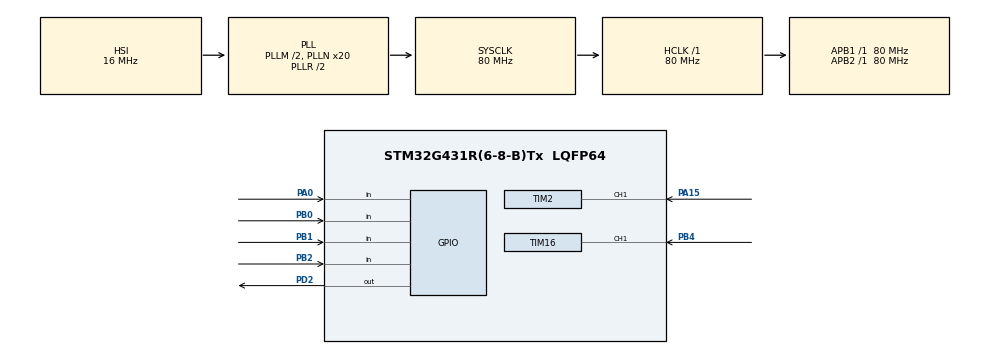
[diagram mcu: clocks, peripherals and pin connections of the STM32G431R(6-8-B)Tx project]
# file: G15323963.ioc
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Mcu.Family=STM32G4
Mcu.Name=STM32G431R(6-8-B)Tx
Mcu.Package=LQFP64
NVIC.PriorityGroup=NVIC_PRIORITYGROUP_2
NVIC.TIM1_BRK_TIM15_IRQn=true\:1\:1\:true\:false\:true\:true\:true\:true
NVIC.TIM1_UP_TIM16_IRQn=true\:0\:0\:false\:false\:true\:true\:true\:true
NVIC.TIM2_IRQn=true\:0\:0\:false\:false\:true\:true\:true\:true
PA0.Signal=GPIO_Input
PA15.Signal=S_TIM2_CH1
PB0.Signal=GPIO_Input
PB1.Signal=GPIO_Input
PB2.Signal=GPIO_Input
PB4.Signal=S_TIM16_CH1
PD2.Signal=GPIO_Output
PF0-OSC_IN.Mode=HSE-External-Oscillator
PF0-OSC_IN.Signal=RCC_OSC_IN
PF1-OSC_OUT.Mode=HSE-External-Oscillator
PF1-OSC_OUT.Signal=RCC_OSC_OUT
ProjectManager.HeapSize=0x200
ProjectManager.StackSize=0x400
ProjectManager.TargetToolchain=MDK-ARM V5
RCC.ADC12Freq_Value=80000000
RCC.AHBFreq_Value=80000000
RCC.APB1Freq_Value=80000000
RCC.APB1TimFreq_Value=80000000
RCC.APB2Freq_Value=80000000
RCC.APB2TimFreq_Value=80000000
RCC.CortexFreq_Value=80000000
RCC.EXTERNAL_CLOCK_VALUE=12288000
RCC.HCLKFreq_Value=80000000
RCC.HSE_VALUE=24000000
RCC.HSI48_VALUE=48000000
RCC.HSI_VALUE=16000000
RCC.LSE_VALUE=32768
RCC.PLLM=RCC_PLLM_DIV2
RCC.PLLN=20
RCC.SYSCLKFreq_VALUE=80000000
RCC.SYSCLKSource=RCC_SYSCLKSOURCE_PLLCLK
RCC.USBFreq_Value=80000000
RCC.VCOOutputFreq_Value=160000000
SH.S_TIM16_CH1.0=TIM16_CH1,Input_Capture1_from_TI1
SH.S_TIM2_CH1.0=TIM2_CH1,Input_Capture1_from_TI1
TIM15.PeriodNoDither=9999
TIM15.Prescaler=799
TIM16.Channel=TIM_CHANNEL_1
TIM16.PeriodNoDither=0xffff
TIM16.Prescaler=79
TIM2.Channel-Input_Capture1_from_TI1=TIM_CHANNEL_1
TIM2.PeriodNoDither=0xffffffff
TIM2.Prescaler=79
VP_SYS_VS_DBSignals.Mode=DisableDeadBatterySignals
VP_TIM15_VS_ClockSourceINT.Mode=Internal
VP_TIM16_VS_ClockSourceINT.Mode=Enable_Timer
board=custom

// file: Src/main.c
/* USER CODE BEGIN Header */
/**
  ******************************************************************************
  * @file           : main.c
  * @brief          : Main program body
  ******************************************************************************
  * @attention
  *
  * Copyright (c) 2024 STMicroelectronics.
  * All rights reserved.
  *
  * This software is licensed under terms that can be found in the LICENSE file
  * in the root directory of this software component.
  * If no LICENSE file comes with this software, it is provided AS-IS.
  *
  ******************************************************************************
  */
/* USER CODE END Header */
#include "main.h"
#include "tim.h"
#include "gpio.h"

/* USER CODE BEGIN Includes */
#include "stdio.h"
#include "string.h"
#include "lcd.h"

#include "led.h"
#include "key.h"

/* USER CODE END Includes */

void SystemClock_Config(void);

/* USER CODE BEGIN 0 */

#define Display_DATA 0
#define Display_PARA 1
#define Display_RECD 2

u8 Display_Mode = 0;

//性能要求

//频率1秒刷新10次
int PA15_FF;
int PB4_FF;

uint32_t PA15_T;
uint32_t PB4_T;

//1
//频率小数转换
double PA15_fl;
double PB4_fl;

//周期//默认为us为单位,周期转换
double PA15_ti;
double PB4_ti;

_Bool data_flag = 0;//0 显示频率 1显示周期

//2
int PD = 1000;
int PH = 5000;
int PX = 0;

u8 para_chose = 0;

//3
int NDA = 0;
int NDB = 0;
int NHA = 0;
int NHB = 0;

//LED
u8 led_ctrl = 0x00;
void LED_Proc(void)
{
	if(Display_Mode == Display_DATA)
		led_ctrl |= 0x01;
	else
		led_ctrl &=~0x01;

	if(PA15_FF > PH)
		led_ctrl |= 0x02;
	else
		led_ctrl &=~0x02;

	if(PB4_FF > PH)
		led_ctrl |= 0x04;
	else
		led_ctrl &= ~0x04;

	if(NDA >=3 ||NDB >=3)
	{
		led_ctrl |= 0x80;
	}
	else
		led_ctrl &=~0x80;

	Led_Control(led_ctrl);
}

//KEY

uint32_t B3Tick = 0;
uint32_t keyTick = 0;
void Key_Proc(void)
{
	if(uwTick - keyTick < 20) return;
	keyTick = uwTick;

	Key_Read();

	if(Trg & 0x01)
	{
		if(Display_Mode == Display_PARA)
		{
			if(para_chose == 0)
			{
				PD+=100;
				if(PD >= 1100)
					PD = 1000;
			}

			if(para_chose == 1)
			{
				PH+=100;
				if(PH >= 10100)
					PH = 10000;
			}

			if(para_chose == 2)
			{
				PX+=100;
				if(PX >= 1100)
					PX = 1000;
			}
		}
	}

	if(Trg & 0x02)
	{
		if(Display_Mode == Display_PARA)
		{
			if(para_chose == 0)
			{
				if(PD >= 200)
				   PD-=100;
			}

			if(para_chose == 1)
			{
				if(PH >= 1100)
				   PH-=100;
			}

			if(para_chose == 2)
			{
				if(PX >= -900)
				   PX-=100;
			}
		}
	}

	//长短按
	if(Trg & 0x04)
	{
		B3Tick = uwTick;
	}
	else if(Cont & 0x04 && uwTick - B3Tick > 1000)//长按
	{
		if(Display_Mode == Display_RECD)
		{
			NDA = 0;
			NDB = 0;

			NHA = 0;
			NHB = 0;

		}

	}
	else if(Up & 0x04 && uwTick - B3Tick < 1000)//短按
	{

		if(Display_Mode == Display_DATA)
		{
			LCD_Clear(Black);
			data_flag = !data_flag;
		}

		if(Display_Mode == Display_PARA)
		{
			para_chose = (para_chose + 1)%3;
		}
	}

	if(Trg & 0x08)
	{
		LCD_Clear(Black);
		Display_Mode = (Display_Mode + 1)%3;

		if(Display_Mode == Display_DATA)
		{
			data_flag = 0;
		}

		if(Display_Mode == Display_PARA)
		{
			para_chose = 0;
		}
	}

}

//PA15 -TIM2CH1
//PB4 TIM16CH1

uint32_t uwIC2Value1_PA15 = 0;
uint32_t uwIC2Value2_PA15 = 0;
uint32_t uwDiffCapture_PA15 = 0;

/* Capture index */
uint16_t uhCaptureIndex_PA15 = 0;

/* Frequency Value */
uint32_t uwFrequency = 0;

uint32_t PA15_F;
//
uint32_t uwIC2Value1_PB4 = 0;
uint32_t uwIC2Value2_PB4 = 0;
uint32_t uwDiffCapture_PB4 = 0;

/* Capture index */
uint16_t uhCaptureIndex_PB4 = 0;

/* Frequency Value */

uint32_t PB4_F;

void HAL_TIM_IC_CaptureCallback(TIM_HandleTypeDef *htim)
{
	if(htim == &htim2)
	{
			if (htim->Channel == HAL_TIM_ACTIVE_CHANNEL_1)
			{
				if(uhCaptureIndex_PA15 == 0)
				{
					/* Get the 1st Input Capture value */
					uwIC2Value1_PA15 = HAL_TIM_ReadCapturedValue(htim, TIM_CHANNEL_1);
					uhCaptureIndex_PA15 = 1;
				}
				else if(uhCaptureIndex_PA15 == 1)
				{
					/* Get the 2nd Input Capture value */
					uwIC2Value2_PA15 = HAL_TIM_ReadCapturedValue(htim, TIM_CHANNEL_1);

					/* Capture computation */
					if (uwIC2Value2_PA15 > uwIC2Value1_PA15)
					{
						uwDiffCapture_PA15 = (uwIC2Value2_PA15 - uwIC2Value1_PA15);
					}
					else if (uwIC2Value2_PA15 < uwIC2Value1_PA15)
					{
						/* 0xFFFF is max TIM1_CCRx value */
						uwDiffCapture_PA15 = ((0xFFFFFFFF - uwIC2Value1_PA15) + uwIC2Value2_PA15) + 1;
					}
					else
					{
						/* If capture values are equal, we have reached the limit of frequency
							 measures */
						Error_Handler();
					}

					/* Frequency computation: for this example TIMx (TIM1) is clocked by
						 APB2Clk */
					PA15_F = 1e6/uwDiffCapture_PA15;
					uhCaptureIndex_PA15 = 0;
				}
			}

	}

	if(htim == &htim16)
	{
			if (htim->Channel == HAL_TIM_ACTIVE_CHANNEL_1)
			{
				if(uhCaptureIndex_PB4 == 0)
				{
					/* Get the 1st Input Capture value */
					uwIC2Value1_PB4 = HAL_TIM_ReadCapturedValue(htim, TIM_CHANNEL_1);
					uhCaptureIndex_PB4 = 1;
				}
				else if(uhCaptureIndex_PB4 == 1)
				{
					/* Get the 2nd Input Capture value */
					uwIC2Value2_PB4 = HAL_TIM_ReadCapturedValue(htim, TIM_CHANNEL_1);

					/* Capture computation */
					if (uwIC2Value2_PB4 > uwIC2Value1_PB4)
					{
						uwDiffCapture_PB4 = (uwIC2Value2_PB4 - uwIC2Value1_PB4);
					}
					else if (uwIC2Value2_PB4 < uwIC2Value1_PB4)
					{
						/* 0xFFFF is max TIM1_CCRx value */
						uwDiffCapture_PB4 = ((0xFFFF - uwIC2Value1_PB4) + uwIC2Value2_PB4) + 1;
					}
					else
					{
						/* If capture values are equal, we have reached the limit of frequency
							 measures */
						Error_Handler();
					}

					/* Frequency computation: for this example TIMx (TIM1) is clocked by
						 APB2Clk */
					PB4_F = 1e6/uwDiffCapture_PB4;
					uhCaptureIndex_PB4 = 0;
				}
			}

	}
}

//频率超限
 //是否需要考虑第一上电超限？？？
int PA15_F_temp = 5000; //这里设置和上电超限参数相等即可
int PB4_F_temp  = 5000;

uint32_t fhTick = 0;
void FH_Proc(void)
{
	if(uwTick - fhTick < 100) return;
	fhTick = uwTick;

	if(PA15_FF > PH && PA15_F_temp <= PH)
	{
		NHA++;
	}

	if(PB4_FF > PH && PB4_F_temp <= PH)
	{
		NHB++;
	}

	PA15_F_temp = PA15_FF;
	PB4_F_temp = PB4_FF;

}

//频率采样
int a_cy[32];//0-29个数

u8 a_cnt = 0;

int a_max = -600;
int a_min = 21000;

//
int b_cy[32];//0-29个数

u8 b_cnt = 0;

int b_max = -600;
int b_min = 21000;

void FD_Proc(void)  //第一次上电
{
		if(a_cnt >= 30) //采样完成
		{
			a_cnt = 0;

			u8 i;

			for(i = 0;i< 30;i++)
			{
				if(a_cy[i] >= a_max)
				{
					 a_max = a_cy[i];
				}

			}

			for(i = 0;i< 30;i++)
			{
				if(a_min >= a_cy[i])
				{
					//if(a_cy[i] != 0) //程序跳变的bug
					 a_min = a_cy[i];
				}

			}

			if((a_max - a_min) > PD)
			{
				NDA++;

			}

			a_max = -600;
			a_min = 21000;

		}

		if(b_cnt >= 30) //采样完成
		{
			b_cnt = 0;

			u8 i;

			for(i = 0;i< 30;i++)
			{
				if(b_cy[i] >= b_max)
				{
					 b_max = b_cy[i];
				}

			}

			for(i = 0;i< 30;i++)
			{
				if(b_min >= b_cy[i])
				{
					//if(a_cy[i] != 0) //程序跳变的bug
					 b_min = b_cy[i];
				}

			}

			if((b_max - b_min) > PD)
			{
				NDB++;
			}

			b_max = -600;
			b_min = 21000;

		}

}

//LCD
uint32_t lcdTick = 0;
void LCD_Proc(void)
{
	if(uwTick - lcdTick < 100) return;
	lcdTick = uwTick;

	u8 display_buf[30];

	if(Display_Mode == Display_DATA)
	{
	  sprintf((char*)display_buf,"        DATA ");
		LCD_DisplayStringLine(Line1,display_buf);

		if(data_flag == 0)
		{
			 //A
				if(PA15_FF <= 1000 && PA15_FF >= 0)
				{
					sprintf((char*)display_buf,"     A=%dHz           ",PA15_FF);
				}

				else if(PA15_FF > 1000)
				{
					PA15_fl = (double)PA15_FF/1000.0;
					sprintf((char*)display_buf,"     A=%.2fKHz        ",PA15_fl);//左对齐
				}

				else if(PA15_FF < 0)
				{
					sprintf((char*)display_buf,"     A=NULL            ");
				}
				LCD_DisplayStringLine(Line3,display_buf);

				//B
				if(PB4_FF <= 1000 && PB4_FF >= 0)
				{
					sprintf((char*)display_buf,"     B=%dHz            ",PB4_FF);
				}

				else if(PB4_FF > 1000)
				{
					PB4_fl = (double)PB4_FF/1000.0;
					sprintf((char*)display_buf,"     B=%.2fKHz         ",PB4_fl);
				}
				else if(PB4_FF < 0)
				{
					sprintf((char*)display_buf,"     B=NULL             ");
				}
				LCD_DisplayStringLine(Line4,display_buf);

		}
		else //显示周期
		{
			if(PA15_FF >= 0)
			{
			  //默认为us为单位
				if(PA15_T <= 1000)
				{
					sprintf((char*)display_buf,"     A=%duS           ",PA15_T);
				}

				else
				{
					PA15_ti = (double)PA15_T/1000.0;
					sprintf((char*)display_buf,"     A=%.2fmS        ",PA15_ti);
				}

			}
			else
			{
					sprintf((char*)display_buf,"     A=NULL           ");
			}

			LCD_DisplayStringLine(Line3,display_buf);

			if(PB4_FF >= 0)
			{
				//
				if(PB4_T <= 1000)
				{
					sprintf((char*)display_buf,"     B=%duS           ",PB4_T);
				}

				else
				{
					PB4_ti = (double)PB4_T/1000.0;
					sprintf((char*)display_buf,"     B=%.2fmS        ",PB4_ti);
				}
			}
			else
			{
				 sprintf((char*)display_buf,"     B=NULL           ");
			}

			LCD_DisplayStringLine(Line4,display_buf);
		}
	}

	if(Display_Mode == Display_PARA)
	{
	  sprintf((char*)display_buf,"        PARA ");
		LCD_DisplayStringLine(Line1,display_buf);

	  sprintf((char*)display_buf,"     PD=%dHz        ",PD);
		LCD_DisplayStringLine(Line3,display_buf);

	  sprintf((char*)display_buf,"     PH=%dHz        ",PH);
		LCD_DisplayStringLine(Line4,display_buf);

	  sprintf((char*)display_buf,"     PX=%dHz        ",PX);
		LCD_DisplayStringLine(Line5,display_buf);
	}

	if(Display_Mode == Display_RECD)
	{
	  sprintf((char*)display_buf,"        RECD ");
		LCD_DisplayStringLine(Line1,display_buf);

		if(NDA >= 0)
	  sprintf((char*)display_buf,"     NDA=%d        ",NDA);
		else
		sprintf((char*)display_buf,"     NDA=%d        ",0);

		LCD_DisplayStringLine(Line3,display_buf);

		if(NDB >= 0)
	  sprintf((char*)display_buf,"     NDB=%d        ",NDB);
		else
	  sprintf((char*)display_buf,"     NDB=%d        ",0);
		LCD_DisplayStringLine(Line4,display_buf);

	  sprintf((char*)display_buf,"     NHA=%d        ",NHA);
		LCD_DisplayStringLine(Line5,display_buf);

	  sprintf((char*)display_buf,"     NHB=%d        ",NHB);
		LCD_DisplayStringLine(Line6,display_buf);
	}

}

//TIM15 100ms
//int led_cnt = 0;
//1s刷新10次-->100ms刷新一次

//频率突变
//频率的正负？

//这里先可以考虑负频率进行计算

// 间隔3s，间隔采样？，以100ms为间隔进行采样，以3秒为周期进行判断

//采样 3s，100ms为周期，共采样30个   //这里刚好对应 频率每秒刷新10次

//考虑第一次采样满

//第三秒的时候判断？，还是每次采样完成后判断
//先考虑第三秒时后判断

_Bool PA15_flag = 0;
_Bool PB4_flag = 0;

void HAL_TIM_PeriodElapsedCallback(TIM_HandleTypeDef *htim)
{

	if(htim == &htim15)//100ms
	{

  //测试用
//		if(++led_cnt == 10)
//		{
//			led_cnt = 0;
//			led_ctrl^=0xff;
//		}

   //频率刷新 和周期刷新
		PA15_FF = ((int)PA15_F + PX);
		PB4_FF = ((int)PB4_F + PX);

			if(PA15_FF > 1200 && PA15_flag == 0)
			{
				NDA = -1;
				PA15_flag = 1;
			}
			if(PB4_FF > 1200 && PB4_flag == 0)
			{
				NDB = -1;
				PB4_flag = 1;
			}

		//采样
		a_cy[a_cnt++] = PA15_FF;
		b_cy[b_cnt++] = PB4_FF;

	  //LCD显示
		if(PA15_FF > 0) //考虑小于0时候
		{
		  PA15_T = (double)(1e6/PA15_FF);
		}

    if(PB4_FF > 0)
		{
			PB4_T = (double)(1e6/PB4_FF);
		}

	}

}

/* USER CODE END 0 */

int main(void)
{

  /* MCU Configuration--------------------------------------------------------*/

  /* Reset of all peripherals, Initializes the Flash interface and the Systick. */
  HAL_Init();

  /* Configure the system clock */
  SystemClock_Config();

  /* Initialize all configured peripherals */
  MX_GPIO_Init();
  MX_TIM2_Init();
  MX_TIM15_Init();
  MX_TIM16_Init();
  /* USER CODE BEGIN 2 */

	LCD_Init();

	//PWM_IC
	HAL_TIM_IC_Start_IT(&htim2,TIM_CHANNEL_1);
	HAL_TIM_IC_Start_IT(&htim16,TIM_CHANNEL_1);

	//TIM15
	HAL_TIM_Base_Start_IT(&htim15);

  /* USER CODE END 2 */

  /* Infinite loop */
  /* USER CODE BEGIN WHILE */

    LCD_SetBackColor(Black);
    LCD_SetTextColor(White);
	  LCD_Clear(Black);
   // LCD_DisplayStringLine(Line4, (unsigned char *)"    Hello,world.   ");

	Led_Control(0x00);
	//memset(a_cy,10000,sizeof(a_cy));
  while (1)
  {
    /* USER CODE END WHILE */

    /* USER CODE BEGIN 3 */
		Key_Proc();
		LCD_Proc();
		LED_Proc();
		FH_Proc();
		FD_Proc();
  }
  /* USER CODE END 3 */
}

void SystemClock_Config(void)
{
  RCC_OscInitTypeDef RCC_OscInitStruct = {0};
  RCC_ClkInitTypeDef RCC_ClkInitStruct = {0};

  /** Configure the main internal regulator output voltage
  */
  HAL_PWREx_ControlVoltageScaling(PWR_REGULATOR_VOLTAGE_SCALE1);

  /** Initializes the RCC Oscillators according to the specified parameters
  * in the RCC_OscInitTypeDef structure.
  */
  RCC_OscInitStruct.OscillatorType = RCC_OSCILLATORTYPE_HSI;
  RCC_OscInitStruct.HSIState = RCC_HSI_ON;
  RCC_OscInitStruct.HSICalibrationValue = RCC_HSICALIBRATION_DEFAULT;
  RCC_OscInitStruct.PLL.PLLState = RCC_PLL_ON;
  RCC_OscInitStruct.PLL.PLLSource = RCC_PLLSOURCE_HSI;
  RCC_OscInitStruct.PLL.PLLM = RCC_PLLM_DIV2;
  RCC_OscInitStruct.PLL.PLLN = 20;
  RCC_OscInitStruct.PLL.PLLP = RCC_PLLP_DIV2;
  RCC_OscInitStruct.PLL.PLLQ = RCC_PLLQ_DIV2;
  RCC_OscInitStruct.PLL.PLLR = RCC_PLLR_DIV2;
  if (HAL_RCC_OscConfig(&RCC_OscInitStruct) != HAL_OK)
  {
    Error_Handler();
  }

  /** Initializes the CPU, AHB and APB buses clocks
  */
  RCC_ClkInitStruct.ClockType = RCC_CLOCKTYPE_HCLK|RCC_CLOCKTYPE_SYSCLK
                              |RCC_CLOCKTYPE_PCLK1|RCC_CLOCKTYPE_PCLK2;
  RCC_ClkInitStruct.SYSCLKSource = RCC_SYSCLKSOURCE_PLLCLK;
  RCC_ClkInitStruct.AHBCLKDivider = RCC_SYSCLK_DIV1;
  RCC_ClkInitStruct.APB1CLKDivider = RCC_HCLK_DIV1;
  RCC_ClkInitStruct.APB2CLKDivider = RCC_HCLK_DIV1;

  if (HAL_RCC_ClockConfig(&RCC_ClkInitStruct, FLASH_LATENCY_2) != HAL_OK)
  {
    Error_Handler();
  }
}

void Error_Handler(void)
{
  __disable_irq();
  while (1)
  {
  }
}
